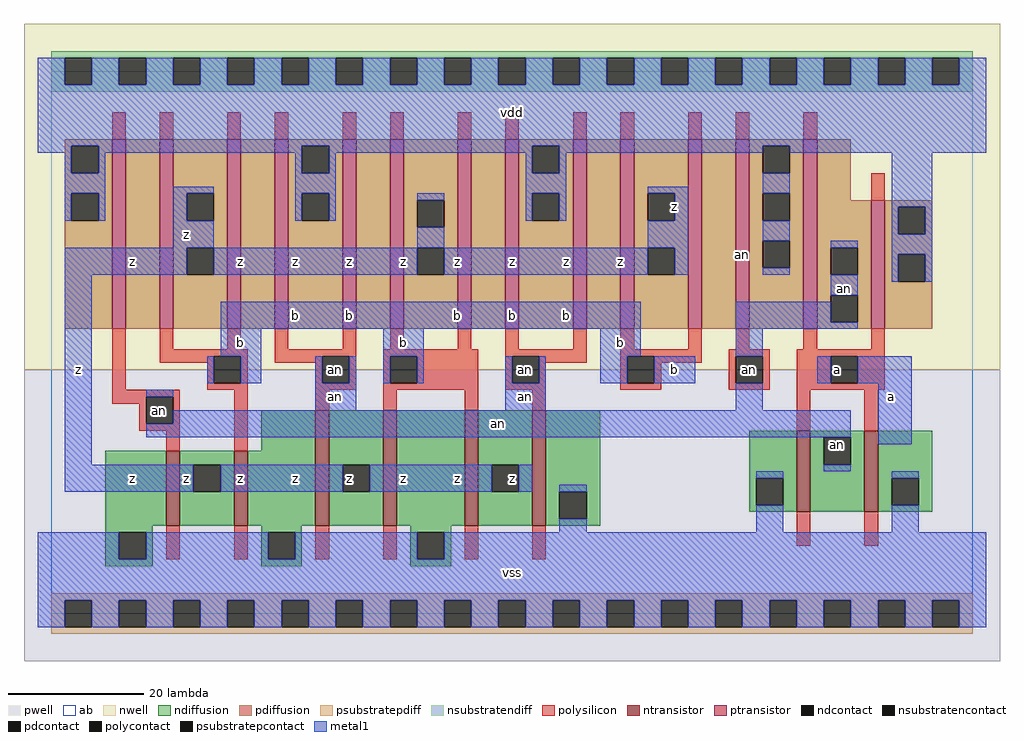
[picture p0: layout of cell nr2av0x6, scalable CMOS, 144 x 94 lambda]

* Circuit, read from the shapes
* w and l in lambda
.subckt nr2av0x6 a an b vdd vss z
M1 z an vss vss nfet w=11 l=2
M2 vss b z vss nfet w=11 l=2
M3 z an vss vss nfet w=17 l=2 m=2
M4 vss b z vss nfet w=17 l=2 m=2
M5 an a vss vss nfet w=12 l=2 m=2
M6 n1 an vdd vdd pfet w=28 l=2
M7 z b n1 vdd pfet w=28 l=2
M8 n2 b z vdd pfet w=28 l=2
M9 vdd an n2 vdd pfet w=28 l=2
M10 n3 an vdd vdd pfet w=28 l=2
M11 z b n3 vdd pfet w=28 l=2
M12 n4 b z vdd pfet w=28 l=2
M13 vdd an n4 vdd pfet w=28 l=2
M14 n5 an vdd vdd pfet w=28 l=2
M15 z b n5 vdd pfet w=28 l=2
M16 n6 b z vdd pfet w=28 l=2
M17 vdd an n6 vdd pfet w=28 l=2
M18 an a vdd vdd pfet w=28 l=2
M19 vdd a an vdd pfet w=19 l=2
.ends

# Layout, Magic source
magic
tech scmos
<< ab >>
rect 0 0 136 80
<< pwell >>
rect -4 -7 140 36
<< nwell >>
rect -4 36 140 87
<< polysilicon >>
rect 9 70 11 74
rect 16 70 18 74
rect 26 70 28 74
rect 33 70 35 74
rect 43 70 45 74
rect 50 70 52 74
rect 60 70 62 74
rect 67 70 69 74
rect 77 70 79 74
rect 84 70 86 74
rect 94 70 96 74
rect 101 70 103 74
rect 111 70 113 74
rect 121 61 123 65
rect 9 33 11 42
rect 16 39 18 42
rect 26 39 28 42
rect 33 39 35 42
rect 43 39 45 42
rect 50 39 52 42
rect 60 39 62 42
rect 67 39 69 42
rect 77 39 79 42
rect 16 38 29 39
rect 16 37 24 38
rect 23 34 24 37
rect 28 34 29 38
rect 33 38 45 39
rect 33 37 40 38
rect 23 33 29 34
rect 9 32 19 33
rect 9 31 14 32
rect 13 28 14 31
rect 18 28 19 32
rect 13 27 19 28
rect 17 24 19 27
rect 27 24 29 33
rect 39 34 40 37
rect 44 34 45 38
rect 39 33 45 34
rect 49 38 63 39
rect 49 34 50 38
rect 54 34 63 38
rect 49 33 63 34
rect 67 38 79 39
rect 67 34 68 38
rect 72 37 79 38
rect 84 39 86 42
rect 94 39 96 42
rect 101 39 103 42
rect 111 39 113 42
rect 121 39 123 42
rect 84 38 96 39
rect 72 34 73 37
rect 67 33 73 34
rect 84 34 85 38
rect 89 37 96 38
rect 100 38 106 39
rect 89 34 90 37
rect 84 33 90 34
rect 100 34 101 38
rect 105 34 106 38
rect 100 33 106 34
rect 110 38 123 39
rect 110 34 115 38
rect 119 34 123 38
rect 110 33 123 34
rect 39 30 41 33
rect 49 30 51 33
rect 61 30 63 33
rect 71 30 73 33
rect 110 27 112 33
rect 120 27 122 33
rect 17 8 19 13
rect 27 8 29 13
rect 39 8 41 13
rect 49 8 51 13
rect 61 8 63 13
rect 71 8 73 13
rect 110 10 112 15
rect 120 10 122 15
<< ndiffusion >>
rect 31 24 39 30
rect 8 13 17 24
rect 19 22 27 24
rect 19 18 21 22
rect 25 18 27 22
rect 19 13 27 18
rect 29 13 39 24
rect 41 22 49 30
rect 41 18 43 22
rect 47 18 49 22
rect 41 13 49 18
rect 51 13 61 30
rect 63 22 71 30
rect 63 18 65 22
rect 69 18 71 22
rect 63 13 71 18
rect 73 18 81 30
rect 73 14 75 18
rect 79 14 81 18
rect 103 20 110 27
rect 103 16 104 20
rect 108 16 110 20
rect 103 15 110 16
rect 112 26 120 27
rect 112 22 114 26
rect 118 22 120 26
rect 112 15 120 22
rect 122 20 130 27
rect 122 16 124 20
rect 128 16 130 20
rect 122 15 130 16
rect 73 13 81 14
rect 8 12 15 13
rect 8 8 10 12
rect 14 8 15 12
rect 31 12 37 13
rect 31 8 32 12
rect 36 8 37 12
rect 53 12 59 13
rect 53 8 54 12
rect 58 8 59 12
rect 8 7 15 8
rect 31 7 37 8
rect 53 7 59 8
<< pdiffusion >>
rect 2 69 9 70
rect 2 65 3 69
rect 7 65 9 69
rect 2 62 9 65
rect 2 58 3 62
rect 7 58 9 62
rect 2 42 9 58
rect 11 42 16 70
rect 18 62 26 70
rect 18 58 20 62
rect 24 58 26 62
rect 18 54 26 58
rect 18 50 20 54
rect 24 50 26 54
rect 18 42 26 50
rect 28 42 33 70
rect 35 69 43 70
rect 35 65 37 69
rect 41 65 43 69
rect 35 62 43 65
rect 35 58 37 62
rect 41 58 43 62
rect 35 42 43 58
rect 45 42 50 70
rect 52 61 60 70
rect 52 57 54 61
rect 58 57 60 61
rect 52 54 60 57
rect 52 50 54 54
rect 58 50 60 54
rect 52 42 60 50
rect 62 42 67 70
rect 69 69 77 70
rect 69 65 71 69
rect 75 65 77 69
rect 69 62 77 65
rect 69 58 71 62
rect 75 58 77 62
rect 69 42 77 58
rect 79 42 84 70
rect 86 62 94 70
rect 86 58 88 62
rect 92 58 94 62
rect 86 54 94 58
rect 86 50 88 54
rect 92 50 94 54
rect 86 42 94 50
rect 96 42 101 70
rect 103 69 111 70
rect 103 65 105 69
rect 109 65 111 69
rect 103 62 111 65
rect 103 58 105 62
rect 109 58 111 62
rect 103 55 111 58
rect 103 51 105 55
rect 109 51 111 55
rect 103 42 111 51
rect 113 61 118 70
rect 113 54 121 61
rect 113 50 115 54
rect 119 50 121 54
rect 113 47 121 50
rect 113 43 115 47
rect 119 43 121 47
rect 113 42 121 43
rect 123 60 130 61
rect 123 56 125 60
rect 129 56 130 60
rect 123 53 130 56
rect 123 49 125 53
rect 129 49 130 53
rect 123 42 130 49
<< metal1 >>
rect -2 78 2 82
rect 6 78 10 82
rect 14 78 18 82
rect 22 78 26 82
rect 30 78 34 82
rect 38 78 42 82
rect 46 78 50 82
rect 54 78 58 82
rect 62 78 66 82
rect 70 78 74 82
rect 78 78 82 82
rect 86 78 90 82
rect 94 78 98 82
rect 102 78 106 82
rect 110 78 114 82
rect 118 78 122 82
rect 126 78 130 82
rect 134 78 138 82
rect -2 69 138 78
rect -2 68 3 69
rect 2 65 3 68
rect 7 68 37 69
rect 7 65 8 68
rect 2 62 8 65
rect 36 65 37 68
rect 41 68 71 69
rect 41 65 42 68
rect 2 58 3 62
rect 7 58 8 62
rect 18 62 24 63
rect 18 58 20 62
rect 36 62 42 65
rect 70 65 71 68
rect 75 68 105 69
rect 75 65 76 68
rect 70 62 76 65
rect 109 68 138 69
rect 36 58 37 62
rect 41 58 42 62
rect 54 61 58 62
rect 18 54 24 58
rect 70 58 71 62
rect 75 58 76 62
rect 88 62 94 63
rect 92 58 94 62
rect 54 54 58 57
rect 88 54 94 58
rect 2 50 20 54
rect 24 50 54 54
rect 58 50 88 54
rect 92 50 94 54
rect 105 62 109 65
rect 105 55 109 58
rect 124 60 130 68
rect 124 56 125 60
rect 129 56 130 60
rect 105 50 109 51
rect 115 54 119 55
rect 2 22 6 50
rect 115 47 119 50
rect 124 53 130 56
rect 124 49 125 53
rect 129 49 130 53
rect 25 42 87 46
rect 25 38 31 42
rect 49 38 55 42
rect 81 38 87 42
rect 101 43 115 46
rect 101 42 119 43
rect 101 38 105 42
rect 23 34 24 38
rect 28 34 31 38
rect 39 34 40 38
rect 44 34 45 38
rect 49 34 50 38
rect 54 34 55 38
rect 67 34 68 38
rect 72 34 73 38
rect 81 34 85 38
rect 89 34 95 38
rect 113 34 115 38
rect 119 34 127 38
rect 14 32 18 33
rect 39 30 45 34
rect 67 30 73 34
rect 101 30 105 34
rect 18 28 118 30
rect 14 26 118 28
rect 122 25 127 34
rect 2 18 21 22
rect 25 18 43 22
rect 47 18 65 22
rect 69 18 71 22
rect 114 21 118 22
rect 104 20 108 21
rect 75 18 79 19
rect 75 12 79 14
rect 104 12 108 16
rect 124 20 128 21
rect 124 12 128 16
rect -2 8 10 12
rect 14 8 32 12
rect 36 8 54 12
rect 58 8 138 12
rect -2 2 138 8
rect -2 -2 2 2
rect 6 -2 10 2
rect 14 -2 18 2
rect 22 -2 26 2
rect 30 -2 34 2
rect 38 -2 42 2
rect 46 -2 50 2
rect 54 -2 58 2
rect 62 -2 66 2
rect 70 -2 74 2
rect 78 -2 82 2
rect 86 -2 90 2
rect 94 -2 98 2
rect 102 -2 106 2
rect 110 -2 114 2
rect 118 -2 122 2
rect 126 -2 130 2
rect 134 -2 138 2
<< ntransistor >>
rect 17 13 19 24
rect 27 13 29 24
rect 39 13 41 30
rect 49 13 51 30
rect 61 13 63 30
rect 71 13 73 30
rect 110 15 112 27
rect 120 15 122 27
<< ptransistor >>
rect 9 42 11 70
rect 16 42 18 70
rect 26 42 28 70
rect 33 42 35 70
rect 43 42 45 70
rect 50 42 52 70
rect 60 42 62 70
rect 67 42 69 70
rect 77 42 79 70
rect 84 42 86 70
rect 94 42 96 70
rect 101 42 103 70
rect 111 42 113 70
rect 121 42 123 61
<< polycontact >>
rect 24 34 28 38
rect 14 28 18 32
rect 40 34 44 38
rect 50 34 54 38
rect 68 34 72 38
rect 85 34 89 38
rect 101 34 105 38
rect 115 34 119 38
<< ndcontact >>
rect 21 18 25 22
rect 43 18 47 22
rect 65 18 69 22
rect 75 14 79 18
rect 104 16 108 20
rect 114 22 118 26
rect 124 16 128 20
rect 10 8 14 12
rect 32 8 36 12
rect 54 8 58 12
<< pdcontact >>
rect 3 65 7 69
rect 3 58 7 62
rect 20 58 24 62
rect 20 50 24 54
rect 37 65 41 69
rect 37 58 41 62
rect 54 57 58 61
rect 54 50 58 54
rect 71 65 75 69
rect 71 58 75 62
rect 88 58 92 62
rect 88 50 92 54
rect 105 65 109 69
rect 105 58 109 62
rect 105 51 109 55
rect 115 50 119 54
rect 115 43 119 47
rect 125 56 129 60
rect 125 49 129 53
<< psubstratepcontact >>
rect 2 -2 6 2
rect 10 -2 14 2
rect 18 -2 22 2
rect 26 -2 30 2
rect 34 -2 38 2
rect 42 -2 46 2
rect 50 -2 54 2
rect 58 -2 62 2
rect 66 -2 70 2
rect 74 -2 78 2
rect 82 -2 86 2
rect 90 -2 94 2
rect 98 -2 102 2
rect 106 -2 110 2
rect 114 -2 118 2
rect 122 -2 126 2
rect 130 -2 134 2
<< nsubstratencontact >>
rect 2 78 6 82
rect 10 78 14 82
rect 18 78 22 82
rect 26 78 30 82
rect 34 78 38 82
rect 42 78 46 82
rect 50 78 54 82
rect 58 78 62 82
rect 66 78 70 82
rect 74 78 78 82
rect 82 78 86 82
rect 90 78 94 82
rect 98 78 102 82
rect 106 78 110 82
rect 114 78 118 82
rect 122 78 126 82
rect 130 78 134 82
<< psubstratepdiff >>
rect 0 2 136 3
rect 0 -2 2 2
rect 6 -2 10 2
rect 14 -2 18 2
rect 22 -2 26 2
rect 30 -2 34 2
rect 38 -2 42 2
rect 46 -2 50 2
rect 54 -2 58 2
rect 62 -2 66 2
rect 70 -2 74 2
rect 78 -2 82 2
rect 86 -2 90 2
rect 94 -2 98 2
rect 102 -2 106 2
rect 110 -2 114 2
rect 118 -2 122 2
rect 126 -2 130 2
rect 134 -2 136 2
rect 0 -3 136 -2
<< nsubstratendiff >>
rect 0 82 136 83
rect 0 78 2 82
rect 6 78 10 82
rect 14 78 18 82
rect 22 78 26 82
rect 30 78 34 82
rect 38 78 42 82
rect 46 78 50 82
rect 54 78 58 82
rect 62 78 66 82
rect 70 78 74 82
rect 78 78 82 82
rect 86 78 90 82
rect 94 78 98 82
rect 102 78 106 82
rect 110 78 114 82
rect 118 78 122 82
rect 126 78 130 82
rect 134 78 136 82
rect 0 77 136 78
<< labels >>
rlabel polycontact 16 30 16 30 6 an
rlabel polycontact 42 36 42 36 6 an
rlabel polycontact 70 36 70 36 6 an
rlabel ptransistor 102 53 102 53 6 an
rlabel metal1 12 20 12 20 6 z
rlabel metal1 20 20 20 20 6 z
rlabel metal1 4 36 4 36 6 z
rlabel metal1 12 52 12 52 6 z
rlabel metal1 20 56 20 56 6 z
rlabel metal1 28 20 28 20 6 z
rlabel metal1 36 20 36 20 6 z
rlabel ndcontact 44 20 44 20 6 z
rlabel metal1 42 32 42 32 6 an
rlabel metal1 28 40 28 40 6 b
rlabel metal1 36 44 36 44 6 b
rlabel metal1 44 44 44 44 6 b
rlabel metal1 36 52 36 52 6 z
rlabel metal1 44 52 44 52 6 z
rlabel metal1 28 52 28 52 6 z
rlabel metal1 68 6 68 6 6 vss
rlabel metal1 52 20 52 20 6 z
rlabel metal1 60 20 60 20 6 z
rlabel ndcontact 68 20 68 20 6 z
rlabel metal1 70 32 70 32 6 an
rlabel metal1 52 40 52 40 6 b
rlabel metal1 60 44 60 44 6 b
rlabel metal1 68 44 68 44 6 b
rlabel metal1 76 44 76 44 6 b
rlabel metal1 60 52 60 52 6 z
rlabel metal1 68 52 68 52 6 z
rlabel metal1 76 52 76 52 6 z
rlabel metal1 52 52 52 52 6 z
rlabel metal1 68 74 68 74 6 vdd
rlabel polycontact 103 36 103 36 6 an
rlabel metal1 84 40 84 40 6 b
rlabel metal1 92 36 92 36 6 b
rlabel metal1 84 52 84 52 6 z
rlabel metal1 92 60 92 60 6 z
rlabel metal1 66 28 66 28 6 an
rlabel ndcontact 116 25 116 25 6 an
rlabel metal1 124 32 124 32 6 a
rlabel polycontact 116 36 116 36 6 a
rlabel metal1 117 48 117 48 6 an
<< end >>
